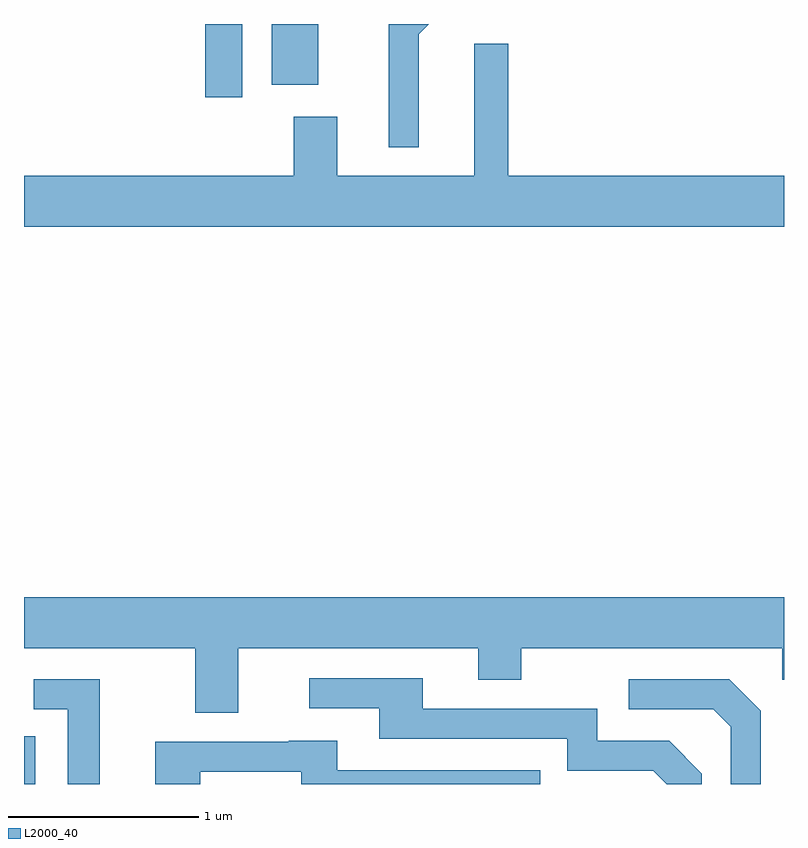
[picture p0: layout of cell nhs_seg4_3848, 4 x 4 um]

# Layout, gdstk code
import gdstk
lib = gdstk.Library(unit=1e-6, precision=1e-09)
def R(c, l, rs):  # rectangles x0, y0, x1, y1
    for r in rs: c.add(gdstk.rectangle(r[:2], r[2:], *l))
def P(c, l, *ps):  # polygons
    for p in ps: c.add(gdstk.Polygon(p, *l))
L2000_40 = (2000, 40)

nhs_seg4_3848 = lib.new_cell('nhs_seg4_3848')
R(nhs_seg4_3848, L2000_40, [(297.611,1333.982,297.669,1334.233), (298.566,1337.596,298.759,1337.982), (298.916,1337.661,299.159,1337.982)])
P(nhs_seg4_3848, L2000_40, [(299.689,1337.929),(299.742,1337.982),(299.531,1337.982),(299.531,1337.333),(299.689,1337.333)],
  [(301.611,1337.184),(300.159,1337.184),(300.159,1337.879),(299.981,1337.879),(299.981,1337.184),(299.259,1337.184),(299.259,1337.494),(299.031,1337.494),(299.031,1337.184),(297.611,1337.184),(297.611,1336.916),(301.611,1336.916)],
  [(298.739,1334.696),(300.001,1334.696),(300.001,1334.531),(300.229,1334.531),(300.229,1334.696),(301.601,1334.696),(301.601,1334.531),(301.611,1334.531),(301.611,1334.964),(297.611,1334.964),(297.611,1334.696),(298.511,1334.696),(298.511,1334.356),(298.739,1334.356)],
  [(301.179,1334.037),(301.007,1334.209),(300.629,1334.209),(300.629,1334.379),(299.709,1334.379),(299.709,1334.539),(299.113,1334.539),(299.113,1334.381),(299.481,1334.381),(299.481,1334.221),(300.471,1334.221),(300.471,1334.051),(300.924,1334.051),(300.993,1333.982),(301.179,1333.982)],
  [(301.489,1334.367),(301.322,1334.534),(300.793,1334.534),(300.793,1334.376),(301.239,1334.376),(301.331,1334.284),(301.331,1333.982),(301.489,1333.982)],
  [(298.009,1334.534),(297.663,1334.534),(297.663,1334.376),(297.841,1334.376),(297.841,1333.982),(298.009,1333.982)],
  [(298.539,1334.046),(299.071,1334.046),(299.071,1333.982),(300.328,1333.982),(300.328,1334.054),(299.259,1334.054),(299.259,1334.209),(299.005,1334.209),(299.005,1334.204),(298.301,1334.204),(298.301,1333.982),(298.539,1333.982)])

lib.write_gds('nhs_seg4_3848.gds')
